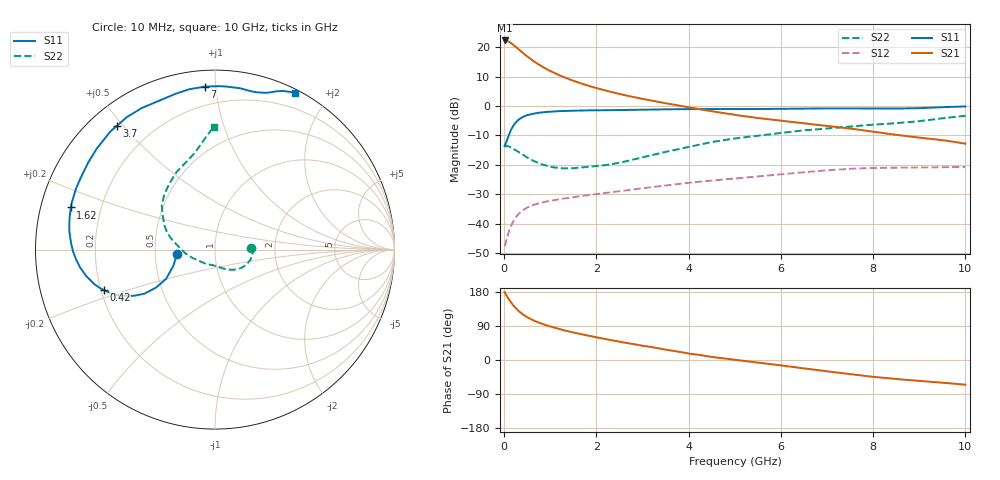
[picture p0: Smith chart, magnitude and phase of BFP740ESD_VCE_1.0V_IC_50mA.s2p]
! Infineon Technologies  Discrete & RF Semiconductors
! BFP740ESD
! VCE =  1.0 V,  IC =  50 mA
! Common Emitter S-Parameters:  Jan 2016
# GHz  S  MA  R  50
!  f  S11  S21  S12  S22
! GHz  MAG  ANG  MAG  ANG  MAG  ANG  MAG  ANG
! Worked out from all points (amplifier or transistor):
!   233 points, 10 MHz to 10 GHz, reference 50 ohm
!   highest |S21| = 22.2 dB at 10 MHz (marker M1)
!   |S21| within 3 dB of that: start of sweep to 314.1 MHz
!   unconditionally stable (mu >= 1): start of sweep to 9.88 GHz
!   at 200 MHz: K = 3.10, MAG = 22.1 dB, |S12| = -39.1 dB
!   at 1.74 GHz: K = 2.08, MAG = 12.9 dB, |S12| = -30.4 dB
!   at 10 GHz: K = 0.87, MSG = 4.0 dB, |S12| = -20.7 dB
!   S11 on the Smith chart (normalised r, x): 10 MHz: 0.65, -0.04; 420 MHz: 0.21, -0.17; 1.62 GHz: 0.09, +0.14; 3.7 GHz: 0.08, +0.48; 7 GHz: 0.09, +0.94; 10 GHz: 0.03, +1.63
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0.01  0.2106 -172.8  12.92 179.1  0.0042 26.5  0.2016 3.3
0.02  0.221 -169.2  12.83 176.3  0.0044 16.2  0.2081 -1.8
0.05  0.2478 -158.9  12.73 170.4  0.0054 29.6  0.2107 -7.0
0.1  0.3173 -149.1  12.34 160.5  0.0073 39.1  0.2065 -15.2
0.15  0.3938 -147.2  11.67 151.7  0.0092 44.2  0.1981 -22.6
0.2  0.4638 -148.0  10.91 143.9  0.0111 45.9  0.1885 -29.2
0.3  0.5733 -153.3  9.351 130.8  0.0144 44.7  0.1679 -40.1
0.42  0.6591 -160.0  7.773 119.2  0.0174 41.9  0.146 -50.4
0.5  0.6991 -164.0  6.915 113.0  0.019 40.2  0.1334 -56.3
0.6  0.733 -168.5  6.039 106.4  0.0205 38.4  0.1211 -62.8
0.8  0.776 -175.9  4.774 96.3  0.0229 36.1  0.1036 -74.2
1.1  0.81 175.2  3.592 84.7  0.0255 34.5  0.0906 -89.7
1.62  0.837 163.7  2.483 69.4  0.0292 34.6  0.0905 -113.0
1.68  0.839 162.3  2.397 67.8  0.0297 34.6  0.0908 -115.2
2.4  0.8517 149.0  1.67 50.6  0.0351 35.1  0.1054 -141.4
3.4  0.8753 133.2  1.152 29.7  0.044 34.4  0.1599 -170.9
3.7  0.8802 128.4  1.045 23.6  0.0469 33.4  0.18 -178.0
5.1  0.8855 112.2  0.69 -0.9  0.0601 27.3  0.2874 159.5
6.8  0.9068 95.9  0.478 -26.6  0.0789 15.6  0.4031 135.7
7  0.9101 93.6  0.46 -29.8  0.0813 13.9  0.4153 133.0
8.4  0.9047 77.0  0.332 -49.0  0.0895 -1.4  0.5047 110.2
10  0.9816 63.0  0.23 -65.2  0.0925 -14.3  0.6839 90.6
